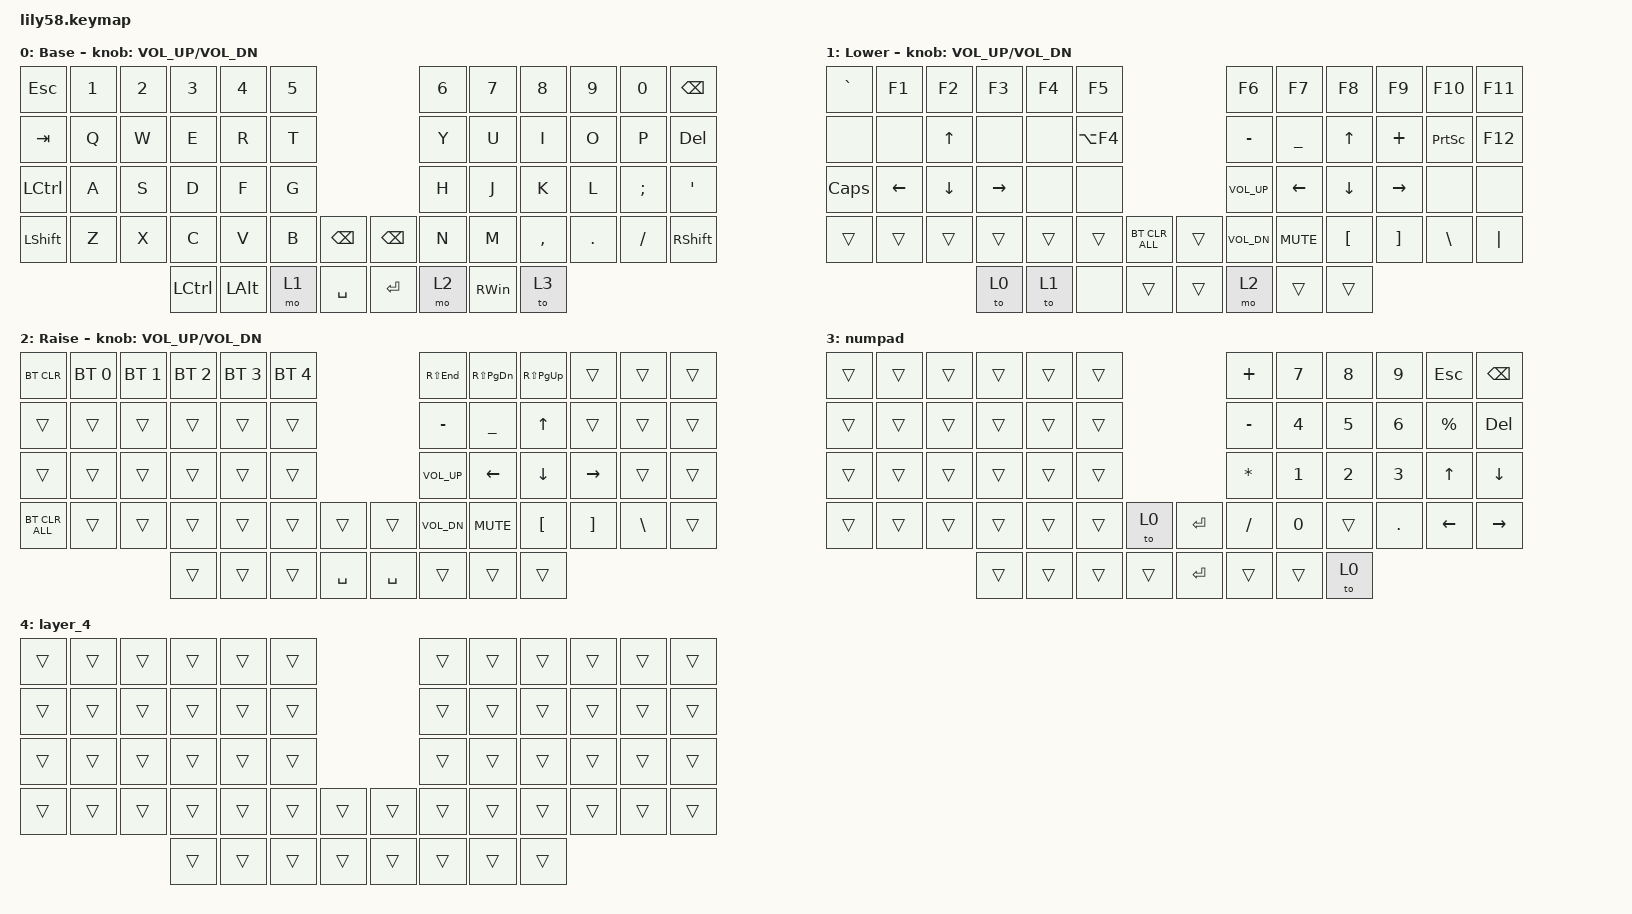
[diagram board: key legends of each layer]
/*
 * Copyright (c) 2020 The ZMK Contributors
 *
 * SPDX-License-Identifier: MIT
 */

#include <behaviors.dtsi>
#include <dt-bindings/zmk/bt.h>
#include <dt-bindings/zmk/keys.h>

/ {
    keymap {
        compatible = "zmk,keymap";

        default_layer {
            // ------------------------------------------------------------------------------------------------------------
            // |  ESC  |  1  |  2  |  3   |  4   |  5   |                   |  6   |  7    |  8    |  9   |   0   |   `   |
            // |  TAB  |  Q  |  W  |  E   |  R   |  T   |                   |  Y   |  U    |  I    |  O   |   P   |   -   |
            // |  CTRL |  A  |  S  |  D   |  F   |  G   |                   |  H   |  J    |  K    |  L   |   ;   |   '   |
            // | SHIFT |  Z  |  X  |  C   |  V   |  B   |   "["  |  |  "]"  |  N   |  M    |  ,    |  .   |   /   | SHIFT |
            //                     | ALT  | GUI  | LOWER|  SPACE |  | ENTER | RAISE| BSPC  | GUI   |

            display-name = "Base";
            bindings = <
&kp ESC    &kp N1  &kp N2  &kp N3     &kp N4        &kp N5                                  &kp N6  &kp N7         &kp N8     &kp N9   &kp N0    &kp BACKSPACE
&kp TAB    &kp Q   &kp W   &kp E      &kp R         &kp T                                   &kp Y   &kp U          &kp I      &kp O    &kp P     &kp DEL
&kp LCTRL  &kp A   &kp S   &kp D      &kp F         &kp G                                   &kp H   &kp J          &kp K      &kp L    &kp SEMI  &kp SQT
&kp LSHFT  &kp Z   &kp X   &kp C      &kp V         &kp B   &kp BACKSPACE    &kp BACKSPACE  &kp N   &kp M          &kp COMMA  &kp DOT  &kp FSLH  &kp RSHFT
                           &kp LCTRL  &kp LEFT_ALT  &mo 1   &kp SPACE        &kp ENTER      &mo 2   &kp RIGHT_WIN  &to 3
            >;

            sensor-bindings = <&inc_dec_kp C_VOL_UP C_VOL_DN>;
        };

        lower_layer {
            // ------------------------------------------------------------------------------------------------------------
            // | BTCLR | BT1 | BT2 |  BT3 |  BT4 |  BT5 |                   |      |       |       |      |       |       |
            // |  F1   |  F2 |  F3 |  F4  |  F5  |  F6  |                   |  F7  |  F8   |  F9   |  F10 |  F11  |  F12  |
            // |   `   |  !  |  @  |  #   |  $   |  %   |                   |  ^   |  &    |  *    |  (   |   )   |   ~   |
            // |       |     |     |      |      |      |        |  |       |      |  _    |  +    |  {   |   }   |  "|"  |
            //                     |      |      |      |        |  |       |      |       |       |

            display-name = "Lower";
            bindings = <
&kp GRAVE     &kp F1          &kp F2          &kp F3           &kp F4  &kp F5                                &kp F6        &kp F7          &kp F8            &kp F9             &kp F10          &kp F11
&none         &none           &kp UP_ARROW    &none            &none   &kp LA(F4)                            &kp MINUS     &kp UNDER       &kp UP_ARROW      &kp PLUS           &kp PRINTSCREEN  &kp F12
&kp CAPSLOCK  &kp LEFT_ARROW  &kp DOWN_ARROW  &kp RIGHT_ARROW  &none   &none                                 &kp C_VOL_UP  &kp LEFT_ARROW  &kp DOWN_ARROW    &kp RIGHT_ARROW    &none            &none
&trans        &trans          &trans          &trans           &trans  &trans      &bt BT_CLR_ALL    &trans  &kp C_VOL_DN  &kp K_MUTE      &kp LEFT_BRACKET  &kp RIGHT_BRACKET  &kp BACKSLASH    &kp PIPE
                                              &to 0            &to 1   &none       &trans            &trans  &mo 2         &trans          &trans
            >;

            sensor-bindings = <&inc_dec_kp C_VOL_UP C_VOL_DN>;
        };

        raise_layer {
            // ------------------------------------------------------------------------------------------------------------
            // |       |     |     |      |      |      |                   |      |       |       |      |       |       |
            // |   `   |  1  |  2  |  3   |  4   |  5   |                   |  6   |   7   |   8   |  9   |   0   |       |
            // |   F1  |  F2 |  F3 |  F4  |  F5  |  F6  |                   |      |   <-  |   v   |  ^   |  ->   |       |
            // |   F7  |  F8 |  F9 |  F10 |  F11 |  F12 |        |  |       |  +   |   -   |   =   |  [   |   ]   |   \   |
            //                     |      |      |      |        |  |       |      |       |       |

            display-name = "Raise";
            bindings = <
&bt BT_CLR      &bt BT_SEL 0  &bt BT_SEL 1  &bt BT_SEL 2  &bt BT_SEL 3  &bt BT_SEL 4                          &kp RS(END)   &kp RS(PG_DN)   &kp RS(PG_UP)     &trans             &trans         &trans
&trans          &trans        &trans        &trans        &trans        &trans                                &kp MINUS     &kp UNDERSCORE  &kp UP            &trans             &trans         &trans
&trans          &trans        &trans        &trans        &trans        &trans                                &kp C_VOL_UP  &kp LEFT        &kp DOWN          &kp RIGHT          &trans         &trans
&bt BT_CLR_ALL  &trans        &trans        &trans        &trans        &trans        &trans       &trans     &kp C_VOL_DN  &kp K_MUTE      &kp LEFT_BRACKET  &kp RIGHT_BRACKET  &kp BACKSLASH  &trans
                                            &trans        &trans        &trans        &kp SPACE    &kp SPACE  &trans        &trans          &trans
            >;

            sensor-bindings = <&inc_dec_kp C_VOL_UP C_VOL_DN>;
        };

        numpad {
            bindings = <
&trans  &trans  &trans  &trans  &trans  &trans                       &kp PLUS      &kp N7  &kp N8  &kp N9      &kp ESC       &kp BACKSPACE
&trans  &trans  &trans  &trans  &trans  &trans                       &kp MINUS     &kp N4  &kp N5  &kp N6      &kp PERCENT   &kp DEL
&trans  &trans  &trans  &trans  &trans  &trans                       &kp ASTERISK  &kp N1  &kp N2  &kp N3      &kp UP_ARROW  &kp DOWN_ARROW
&trans  &trans  &trans  &trans  &trans  &trans  &to 0     &kp ENTER  &kp SLASH     &kp N0  &trans  &kp PERIOD  &kp LEFT      &kp RIGHT
                        &trans  &trans  &trans  &trans    &kp ENTER  &trans        &trans  &to 0
            >;
        };

        layer_4 {
            bindings = <
&trans  &trans  &trans  &trans  &trans  &trans                    &trans  &trans  &trans  &trans  &trans  &trans
&trans  &trans  &trans  &trans  &trans  &trans                    &trans  &trans  &trans  &trans  &trans  &trans
&trans  &trans  &trans  &trans  &trans  &trans                    &trans  &trans  &trans  &trans  &trans  &trans
&trans  &trans  &trans  &trans  &trans  &trans  &trans    &trans  &trans  &trans  &trans  &trans  &trans  &trans
                        &trans  &trans  &trans  &trans    &trans  &trans  &trans  &trans
            >;
        };
    };
};
